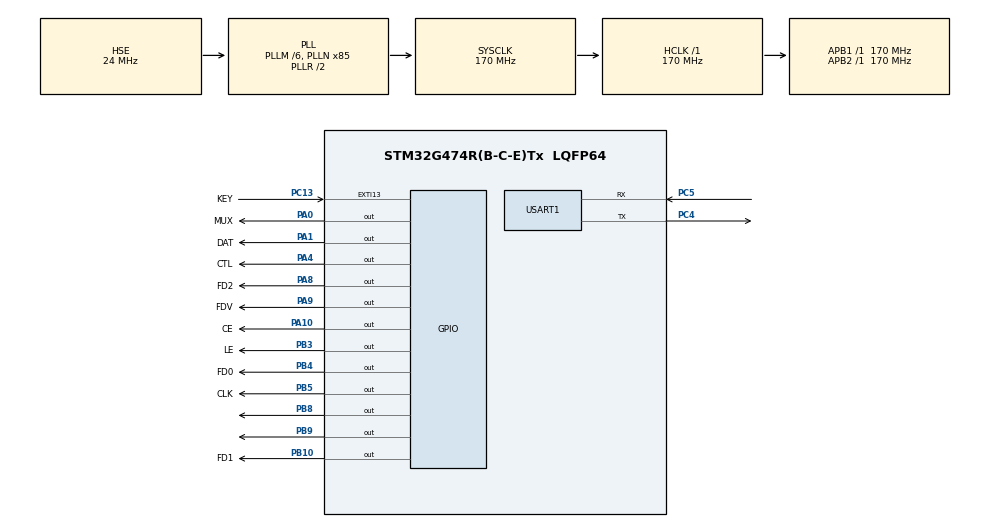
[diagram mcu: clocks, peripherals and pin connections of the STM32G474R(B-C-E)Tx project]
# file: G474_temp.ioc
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Mcu.Family=STM32G4
Mcu.Name=STM32G474R(B-C-E)Tx
Mcu.Package=LQFP64
NVIC.EXTI15_10_IRQn=true\:0\:0\:false\:false\:true\:true\:true\:true
NVIC.PriorityGroup=NVIC_PRIORITYGROUP_4
NVIC.USART1_IRQn=true\:0\:0\:false\:false\:true\:true\:true\:true
PA0.GPIO_Label=MUX
PA0.GPIO_ModeDefaultOutputPP=GPIO_MODE_OUTPUT_PP
PA0.GPIO_PuPd=GPIO_NOPULL
PA0.GPIO_Speed=GPIO_SPEED_FREQ_VERY_HIGH
PA0.PinState=GPIO_PIN_RESET
PA0.Signal=GPIO_Output
PA1.GPIO_Label=DAT
PA1.GPIO_ModeDefaultOutputPP=GPIO_MODE_OUTPUT_PP
PA1.GPIO_PuPd=GPIO_NOPULL
PA1.GPIO_Speed=GPIO_SPEED_FREQ_VERY_HIGH
PA1.PinState=GPIO_PIN_RESET
PA1.Signal=GPIO_Output
PA10.GPIO_Label=CE
PA10.GPIO_ModeDefaultOutputPP=GPIO_MODE_OUTPUT_PP
PA10.GPIO_PuPd=GPIO_NOPULL
PA10.GPIO_Speed=GPIO_SPEED_FREQ_VERY_HIGH
PA10.PinState=GPIO_PIN_RESET
PA10.Signal=GPIO_Output
PA13.Mode=Serial_Wire
PA13.Signal=SYS_JTMS-SWDIO
PA14.Mode=Serial_Wire
PA14.Signal=SYS_JTCK-SWCLK
PA4.GPIO_Label=CTL
PA4.GPIO_ModeDefaultOutputPP=GPIO_MODE_OUTPUT_PP
PA4.GPIO_PuPd=GPIO_NOPULL
PA4.GPIO_Speed=GPIO_SPEED_FREQ_VERY_HIGH
PA4.PinState=GPIO_PIN_RESET
PA4.Signal=GPIO_Output
PA8.GPIO_Label=FD2
PA8.GPIO_ModeDefaultOutputPP=GPIO_MODE_OUTPUT_PP
PA8.GPIO_PuPd=GPIO_NOPULL
PA8.GPIO_Speed=GPIO_SPEED_FREQ_VERY_HIGH
PA8.PinState=GPIO_PIN_RESET
PA8.Signal=GPIO_Output
PA9.GPIO_Label=FDV
PA9.GPIO_ModeDefaultOutputPP=GPIO_MODE_OUTPUT_PP
PA9.GPIO_PuPd=GPIO_NOPULL
PA9.GPIO_Speed=GPIO_SPEED_FREQ_VERY_HIGH
PA9.PinState=GPIO_PIN_RESET
PA9.Signal=GPIO_Output
PB10.GPIO_Label=FD1
PB10.GPIO_ModeDefaultOutputPP=GPIO_MODE_OUTPUT_PP
PB10.GPIO_PuPd=GPIO_NOPULL
PB10.GPIO_Speed=GPIO_SPEED_FREQ_VERY_HIGH
PB10.PinState=GPIO_PIN_RESET
PB10.Signal=GPIO_Output
PB3.GPIO_Label=LE
PB3.GPIO_ModeDefaultOutputPP=GPIO_MODE_OUTPUT_PP
PB3.GPIO_PuPd=GPIO_NOPULL
PB3.GPIO_Speed=GPIO_SPEED_FREQ_VERY_HIGH
PB3.PinState=GPIO_PIN_RESET
PB3.Signal=GPIO_Output
PB4.GPIO_Label=FD0
PB4.GPIO_ModeDefaultOutputPP=GPIO_MODE_OUTPUT_PP
PB4.GPIO_PuPd=GPIO_NOPULL
PB4.GPIO_Speed=GPIO_SPEED_FREQ_VERY_HIGH
PB4.PinState=GPIO_PIN_RESET
PB4.Signal=GPIO_Output
PB5.GPIO_Label=CLK
PB5.GPIO_ModeDefaultOutputPP=GPIO_MODE_OUTPUT_PP
PB5.GPIO_PuPd=GPIO_NOPULL
PB5.GPIO_Speed=GPIO_SPEED_FREQ_VERY_HIGH
PB5.PinState=GPIO_PIN_RESET
PB5.Signal=GPIO_Output
PB8-BOOT0.GPIO_FM8=__NULL
PB8-BOOT0.GPIO_ModeDefaultOutputPP=GPIO_MODE_OUTPUT_OD
PB8-BOOT0.GPIO_PuPd=GPIO_PULLUP
PB8-BOOT0.GPIO_Speed=GPIO_SPEED_FREQ_VERY_HIGH
PB8-BOOT0.Signal=GPIO_Output
PB9.GPIO_ModeDefaultOutputPP=GPIO_MODE_OUTPUT_OD
PB9.GPIO_PuPd=GPIO_PULLUP
PB9.GPIO_Speed=GPIO_SPEED_FREQ_VERY_HIGH
PB9.Signal=GPIO_Output
PC13.GPIO_Label=KEY
PC13.Signal=GPXTI13
PC14-OSC32_IN.Mode=LSE-External-Oscillator
PC14-OSC32_IN.Signal=RCC_OSC32_IN
PC15-OSC32_OUT.Mode=LSE-External-Oscillator
PC15-OSC32_OUT.Signal=RCC_OSC32_OUT
PC4.Mode=Asynchronous
PC4.Signal=USART1_TX
PC5.Mode=Asynchronous
PC5.Signal=USART1_RX
PF0-OSC_IN.Mode=HSE-External-Oscillator
PF0-OSC_IN.Signal=RCC_OSC_IN
PF1-OSC_OUT.Mode=HSE-External-Oscillator
PF1-OSC_OUT.Signal=RCC_OSC_OUT
ProjectManager.HeapSize=0x200
ProjectManager.StackSize=0x400
ProjectManager.TargetToolchain=MDK-ARM V5.32
RCC.ADC12Freq_Value=170000000
RCC.ADC345Freq_Value=170000000
RCC.AHBFreq_Value=170000000
RCC.APB1Freq_Value=170000000
RCC.APB1TimFreq_Value=170000000
RCC.APB2Freq_Value=170000000
RCC.APB2TimFreq_Value=170000000
RCC.CortexFreq_Value=170000000
RCC.EXTERNAL_CLOCK_VALUE=12288000
RCC.HCLKFreq_Value=170000000
RCC.HSE_VALUE=24000000
RCC.HSI48_VALUE=48000000
RCC.HSI_VALUE=16000000
RCC.PLLM=RCC_PLLM_DIV6
RCC.PLLN=85
RCC.PLLSourceVirtual=RCC_PLLSOURCE_HSE
RCC.RTCClockSelection=RCC_RTCCLKSOURCE_LSE
RCC.SYSCLKFreq_VALUE=170000000
RCC.SYSCLKSource=RCC_SYSCLKSOURCE_PLLCLK
RCC.USBFreq_Value=170000000
RCC.VCOOutputFreq_Value=340000000
USART1.VirtualMode-Asynchronous=VM_ASYNC
VP_SYS_VS_DBSignals.Mode=DisableDeadBatterySignals
board=NUCLEO-G474RE

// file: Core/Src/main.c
/* USER CODE BEGIN Header */
/**
  ******************************************************************************
  * @file           : main.c
  * @brief          : Main program body
  ******************************************************************************
  * @attention
  *
  * Copyright (c) 2023 STMicroelectronics.
  * All rights reserved.
  *
  * This software is licensed under terms that can be found in the LICENSE file
  * in the root directory of this software component.
  * If no LICENSE file comes with this software, it is provided AS-IS.
  *
  ******************************************************************************
  */
/* USER CODE END Header */
#include "main.h"
#include "usart.h"
#include "gpio.h"

/* USER CODE BEGIN Includes */
#include "delay.h"
#include "myusart1.h"
#include "OLED_I2C.h"
#include "LMX2571.h"
/* USER CODE END Includes */

void SystemClock_Config(void);

int main(void)
{

  /* MCU Configuration--------------------------------------------------------*/

  /* Reset of all peripherals, Initializes the Flash interface and the Systick. */
  HAL_Init();

  /* Configure the system clock */
  SystemClock_Config();

  /* Initialize all configured peripherals */
  MX_GPIO_Init();
  MX_USART1_UART_Init();
  /* USER CODE BEGIN 2 */
  delay_init(170);
  MyUSART1_Init(&huart1);
  OLED_Init();
  OLED_CLS();
  OLED_ShowStr(30,3,(unsigned char *)"122.88MHz",2);

  LMX2571_Init();
  SetOutFre(LMX2571_F1,122870000);
  /* USER CODE END 2 */

  /* Infinite loop */
  while (1)
  {

  }
}

void SystemClock_Config(void)
{
  RCC_OscInitTypeDef RCC_OscInitStruct = {0};
  RCC_ClkInitTypeDef RCC_ClkInitStruct = {0};

  /** Configure the main internal regulator output voltage
  */
  HAL_PWREx_ControlVoltageScaling(PWR_REGULATOR_VOLTAGE_SCALE1_BOOST);

  /** Initializes the RCC Oscillators according to the specified parameters
  * in the RCC_OscInitTypeDef structure.
  */
  RCC_OscInitStruct.OscillatorType = RCC_OSCILLATORTYPE_HSE;
  RCC_OscInitStruct.HSEState = RCC_HSE_ON;
  RCC_OscInitStruct.PLL.PLLState = RCC_PLL_ON;
  RCC_OscInitStruct.PLL.PLLSource = RCC_PLLSOURCE_HSE;
  RCC_OscInitStruct.PLL.PLLM = RCC_PLLM_DIV6;
  RCC_OscInitStruct.PLL.PLLN = 85;
  RCC_OscInitStruct.PLL.PLLP = RCC_PLLP_DIV2;
  RCC_OscInitStruct.PLL.PLLQ = RCC_PLLQ_DIV2;
  RCC_OscInitStruct.PLL.PLLR = RCC_PLLR_DIV2;
  if (HAL_RCC_OscConfig(&RCC_OscInitStruct) != HAL_OK)
  {
    Error_Handler();
  }

  /** Initializes the CPU, AHB and APB buses clocks
  */
  RCC_ClkInitStruct.ClockType = RCC_CLOCKTYPE_HCLK|RCC_CLOCKTYPE_SYSCLK
                              |RCC_CLOCKTYPE_PCLK1|RCC_CLOCKTYPE_PCLK2;
  RCC_ClkInitStruct.SYSCLKSource = RCC_SYSCLKSOURCE_PLLCLK;
  RCC_ClkInitStruct.AHBCLKDivider = RCC_SYSCLK_DIV1;
  RCC_ClkInitStruct.APB1CLKDivider = RCC_HCLK_DIV1;
  RCC_ClkInitStruct.APB2CLKDivider = RCC_HCLK_DIV1;

  if (HAL_RCC_ClockConfig(&RCC_ClkInitStruct, FLASH_LATENCY_4) != HAL_OK)
  {
    Error_Handler();
  }
}

/* USER CODE BEGIN 4 */
void HAL_GPIO_EXTI_Callback(uint16_t GPIO_PIN)
{
	static uint16_t num = 0;
	if(KEY_Pin)
	{
		OLED_CLS();
		if(++num%2 != 0)
		{
			OLED_ShowStr(30,3,(unsigned char *)"245.76MHz",2);
			SetOutFre(LMX2571_F1,245750000);
		}
		else
		{
			OLED_ShowStr(30,3,(unsigned char *)"122.88MHz",2);
			SetOutFre(LMX2571_F1,122870000);
		}
	}
}
/* USER CODE END 4 */

void Error_Handler(void)
{
  __disable_irq();
  while (1)
  {
  }
}
